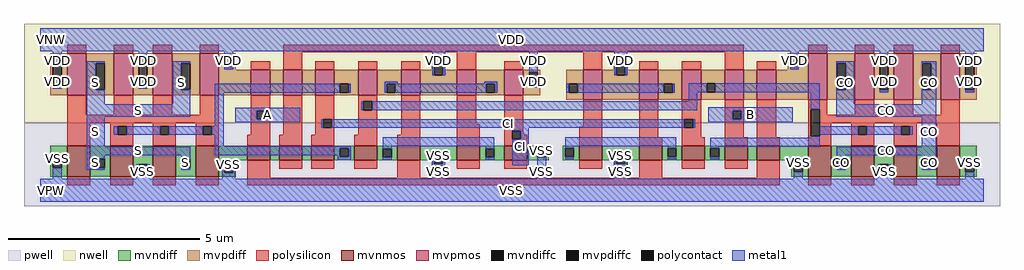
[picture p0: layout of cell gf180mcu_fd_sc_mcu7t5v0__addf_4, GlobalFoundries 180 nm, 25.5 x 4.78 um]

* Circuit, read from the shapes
.subckt gf180mcu_fd_sc_mcu7t5v0__addf_4 A B CI CO S VDD VNW VPW VSS
XM1 S n1 VSS VPW nfet_06v0 w=0.815u l=0.6u m=4
XM2 n2 A VSS VPW nfet_06v0 w=0.38u l=0.6u
XM3 n3 B n2 VPW nfet_06v0 w=0.38u l=0.6u
XM4 n1 CI n3 VPW nfet_06v0 w=0.38u l=0.6u
XM5 n4 n5 n1 VPW nfet_06v0 w=0.38u l=0.6u
XM6 VSS A n4 VPW nfet_06v0 w=0.38u l=0.6u
XM7 n4 B VSS VPW nfet_06v0 w=0.38u l=0.6u
XM8 VSS CI n4 VPW nfet_06v0 w=0.38u l=0.6u
XM9 VSS B n6 VPW nfet_06v0 w=0.38u l=0.6u
XM10 n6 A VSS VPW nfet_06v0 w=0.38u l=0.6u
XM11 n5 CI n6 VPW nfet_06v0 w=0.38u l=0.6u
XM12 n7 B n5 VPW nfet_06v0 w=0.38u l=0.6u
XM13 VSS A n7 VPW nfet_06v0 w=0.38u l=0.6u
XM14 CO n5 VSS VPW nfet_06v0 w=0.815u l=0.6u m=4
XM15 S n1 VDD VNW pfet_06v0 w=1.095u l=0.5u m=4
XM16 n8 A VDD VNW pfet_06v0 w=0.66u l=0.5u
XM17 n9 B n8 VNW pfet_06v0 w=0.66u l=0.5u
XM18 n1 CI n9 VNW pfet_06v0 w=0.66u l=0.5u
XM19 n10 n5 n1 VNW pfet_06v0 w=0.66u l=0.5u
XM20 VDD A n10 VNW pfet_06v0 w=0.66u l=0.5u
XM21 n10 B VDD VNW pfet_06v0 w=0.66u l=0.5u
XM22 VDD CI n10 VNW pfet_06v0 w=0.66u l=0.5u
XM23 VDD B n11 VNW pfet_06v0 w=0.78u l=0.5u
XM24 n11 A VDD VNW pfet_06v0 w=0.78u l=0.5u
XM25 n5 CI n11 VNW pfet_06v0 w=0.78u l=0.5u
XM26 n12 B n5 VNW pfet_06v0 w=0.78u l=0.5u
XM27 VDD A n12 VNW pfet_06v0 w=0.78u l=0.5u
XM28 CO n5 VDD VNW pfet_06v0 w=1.215u l=0.5u m=4
.ends

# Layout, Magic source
magic
tech gf180mcuD
magscale 1 10
<< nwell >>
rect -86 352 5014 870
<< pwell >>
rect -86 -86 5014 352
<< mvnmos >>
rect 140 69 260 232
rect 364 69 484 232
rect 588 69 708 232
rect 812 69 932 232
rect 1080 156 1200 232
rect 1248 156 1368 232
rect 1416 156 1536 232
rect 1640 156 1760 232
rect 1864 156 1984 232
rect 2176 156 2296 232
rect 2424 156 2544 232
rect 2816 156 2936 232
rect 3128 156 3248 232
rect 3352 156 3472 232
rect 3576 156 3696 232
rect 3744 156 3864 232
rect 4012 69 4132 232
rect 4236 69 4356 232
rect 4460 69 4580 232
rect 4684 69 4804 232
<< mvpmos >>
rect 140 496 240 715
rect 384 496 484 715
rect 588 496 688 715
rect 832 496 932 715
rect 1100 496 1200 628
rect 1268 496 1368 628
rect 1436 496 1536 628
rect 1660 496 1760 628
rect 1884 496 1984 628
rect 2176 496 2276 628
rect 2424 496 2524 628
rect 2836 472 2936 628
rect 3128 472 3228 628
rect 3352 472 3452 628
rect 3576 472 3676 628
rect 3744 472 3844 628
rect 4012 472 4112 715
rect 4256 472 4356 715
rect 4460 472 4560 715
rect 4704 472 4804 715
<< mvndiff >>
rect 52 163 140 232
rect 52 117 65 163
rect 111 117 140 163
rect 52 69 140 117
rect 260 163 364 232
rect 260 117 289 163
rect 335 117 364 163
rect 260 69 364 117
rect 484 135 588 232
rect 484 89 513 135
rect 559 89 588 135
rect 484 69 588 89
rect 708 163 812 232
rect 708 117 737 163
rect 783 117 812 163
rect 708 69 812 117
rect 932 156 1080 232
rect 1200 156 1248 232
rect 1368 156 1416 232
rect 1536 219 1640 232
rect 1536 173 1565 219
rect 1611 173 1640 219
rect 1536 156 1640 173
rect 1760 216 1864 232
rect 1760 170 1789 216
rect 1835 170 1864 216
rect 1760 156 1864 170
rect 1984 183 2176 232
rect 1984 156 2057 183
rect 932 135 1020 156
rect 932 89 961 135
rect 1007 89 1020 135
rect 932 69 1020 89
rect 2044 137 2057 156
rect 2103 156 2176 183
rect 2296 216 2424 232
rect 2296 170 2326 216
rect 2372 170 2424 216
rect 2296 156 2424 170
rect 2544 216 2656 232
rect 2544 170 2597 216
rect 2643 170 2656 216
rect 2544 156 2656 170
rect 2728 219 2816 232
rect 2728 173 2741 219
rect 2787 173 2816 219
rect 2728 156 2816 173
rect 2936 183 3128 232
rect 2936 156 3009 183
rect 2103 137 2116 156
rect 2044 124 2116 137
rect 2996 137 3009 156
rect 3055 156 3128 183
rect 3248 219 3352 232
rect 3248 173 3277 219
rect 3323 173 3352 219
rect 3248 156 3352 173
rect 3472 219 3576 232
rect 3472 173 3501 219
rect 3547 173 3576 219
rect 3472 156 3576 173
rect 3696 156 3744 232
rect 3864 156 4012 232
rect 3055 137 3068 156
rect 2996 124 3068 137
rect 3924 142 4012 156
rect 3924 96 3937 142
rect 3983 96 4012 142
rect 3924 69 4012 96
rect 4132 163 4236 232
rect 4132 117 4161 163
rect 4207 117 4236 163
rect 4132 69 4236 117
rect 4356 134 4460 232
rect 4356 88 4385 134
rect 4431 88 4460 134
rect 4356 69 4460 88
rect 4580 163 4684 232
rect 4580 117 4609 163
rect 4655 117 4684 163
rect 4580 69 4684 117
rect 4804 142 4892 232
rect 4804 96 4833 142
rect 4879 96 4892 142
rect 4804 69 4892 96
<< mvpdiff >>
rect 52 689 140 715
rect 52 549 65 689
rect 111 549 140 689
rect 52 496 140 549
rect 240 663 384 715
rect 240 523 289 663
rect 335 523 384 663
rect 240 496 384 523
rect 484 689 588 715
rect 484 549 513 689
rect 559 549 588 689
rect 484 496 588 549
rect 688 663 832 715
rect 688 523 737 663
rect 783 523 832 663
rect 688 496 832 523
rect 932 689 1020 715
rect 932 643 961 689
rect 1007 643 1020 689
rect 932 628 1020 643
rect 2044 647 2116 660
rect 2044 628 2057 647
rect 932 496 1100 628
rect 1200 496 1268 628
rect 1368 496 1436 628
rect 1536 555 1660 628
rect 1536 509 1565 555
rect 1611 509 1660 555
rect 1536 496 1660 509
rect 1760 555 1884 628
rect 1760 509 1809 555
rect 1855 509 1884 555
rect 1760 496 1884 509
rect 1984 601 2057 628
rect 2103 628 2116 647
rect 2996 647 3068 660
rect 2996 628 3009 647
rect 2103 601 2176 628
rect 1984 496 2176 601
rect 2276 555 2424 628
rect 2276 509 2329 555
rect 2375 509 2424 555
rect 2276 496 2424 509
rect 2524 615 2612 628
rect 2524 569 2553 615
rect 2599 569 2612 615
rect 2524 496 2612 569
rect 2748 555 2836 628
rect 2748 509 2761 555
rect 2807 509 2836 555
rect 2748 472 2836 509
rect 2936 601 3009 628
rect 3055 628 3068 647
rect 3904 689 4012 715
rect 3904 643 3917 689
rect 3963 643 4012 689
rect 3904 628 4012 643
rect 3055 601 3128 628
rect 2936 472 3128 601
rect 3228 555 3352 628
rect 3228 509 3257 555
rect 3303 509 3352 555
rect 3228 472 3352 509
rect 3452 557 3576 628
rect 3452 511 3481 557
rect 3527 511 3576 557
rect 3452 472 3576 511
rect 3676 472 3744 628
rect 3844 472 4012 628
rect 4112 663 4256 715
rect 4112 523 4161 663
rect 4207 523 4256 663
rect 4112 472 4256 523
rect 4356 663 4460 715
rect 4356 523 4385 663
rect 4431 523 4460 663
rect 4356 472 4460 523
rect 4560 663 4704 715
rect 4560 523 4609 663
rect 4655 523 4704 663
rect 4560 472 4704 523
rect 4804 663 4892 715
rect 4804 523 4833 663
rect 4879 523 4892 663
rect 4804 472 4892 523
<< mvndiffc >>
rect 65 117 111 163
rect 289 117 335 163
rect 513 89 559 135
rect 737 117 783 163
rect 1565 173 1611 219
rect 1789 170 1835 216
rect 961 89 1007 135
rect 2057 137 2103 183
rect 2326 170 2372 216
rect 2597 170 2643 216
rect 2741 173 2787 219
rect 3009 137 3055 183
rect 3277 173 3323 219
rect 3501 173 3547 219
rect 3937 96 3983 142
rect 4161 117 4207 163
rect 4385 88 4431 134
rect 4609 117 4655 163
rect 4833 96 4879 142
<< mvpdiffc >>
rect 65 549 111 689
rect 289 523 335 663
rect 513 549 559 689
rect 737 523 783 663
rect 961 643 1007 689
rect 1565 509 1611 555
rect 1809 509 1855 555
rect 2057 601 2103 647
rect 2329 509 2375 555
rect 2553 569 2599 615
rect 2761 509 2807 555
rect 3009 601 3055 647
rect 3917 643 3963 689
rect 3257 509 3303 555
rect 3481 511 3527 557
rect 4161 523 4207 663
rect 4385 523 4431 663
rect 4609 523 4655 663
rect 4833 523 4879 663
<< polysilicon >>
rect 140 715 240 760
rect 384 715 484 760
rect 588 715 688 760
rect 832 715 932 760
rect 1268 720 3676 760
rect 1100 628 1200 672
rect 1268 628 1368 720
rect 1436 628 1536 672
rect 1660 628 1760 672
rect 1884 628 1984 672
rect 2176 628 2276 720
rect 2424 628 2524 672
rect 2836 628 2936 720
rect 140 394 240 496
rect 384 394 484 496
rect 588 394 688 496
rect 832 394 932 496
rect 140 348 932 394
rect 140 232 260 348
rect 364 334 484 348
rect 364 288 404 334
rect 450 288 484 334
rect 364 232 484 288
rect 588 334 708 348
rect 588 288 625 334
rect 671 288 708 334
rect 588 232 708 288
rect 812 334 932 348
rect 812 288 849 334
rect 895 288 932 334
rect 1100 415 1200 496
rect 1100 369 1130 415
rect 1176 369 1200 415
rect 1100 288 1200 369
rect 1268 288 1368 496
rect 1436 371 1536 496
rect 1436 325 1477 371
rect 1523 325 1536 371
rect 1436 288 1536 325
rect 1660 463 1760 496
rect 1660 417 1687 463
rect 1733 417 1760 463
rect 1660 288 1760 417
rect 1884 288 1984 496
rect 812 232 932 288
rect 1080 232 1200 288
rect 1248 232 1368 288
rect 1416 232 1536 288
rect 1640 232 1760 288
rect 1864 232 1984 288
rect 2176 344 2276 496
rect 2176 232 2296 344
rect 2424 311 2524 496
rect 3128 628 3228 672
rect 3352 628 3452 672
rect 3576 628 3676 720
rect 4012 715 4112 760
rect 4256 715 4356 760
rect 4460 715 4560 760
rect 4704 715 4804 760
rect 3744 628 3844 672
rect 2836 330 2936 472
rect 2424 265 2465 311
rect 2511 288 2524 311
rect 2511 265 2544 288
rect 2424 232 2544 265
rect 2816 232 2936 330
rect 3128 277 3228 472
rect 3352 371 3452 472
rect 3352 325 3365 371
rect 3411 325 3452 371
rect 3352 277 3452 325
rect 3576 415 3676 472
rect 3576 369 3617 415
rect 3663 369 3676 415
rect 3576 277 3676 369
rect 3744 277 3844 472
rect 4012 422 4112 472
rect 4012 281 4025 422
rect 4071 394 4112 422
rect 4256 394 4356 472
rect 4460 394 4560 472
rect 4704 394 4804 472
rect 4071 348 4804 394
rect 4071 281 4132 348
rect 3128 232 3248 277
rect 3352 232 3472 277
rect 3576 232 3696 277
rect 3744 232 3864 277
rect 4012 232 4132 281
rect 4236 334 4356 348
rect 4236 288 4273 334
rect 4319 288 4356 334
rect 4236 232 4356 288
rect 4460 334 4580 348
rect 4460 288 4497 334
rect 4543 288 4580 334
rect 4460 232 4580 288
rect 4684 232 4804 348
rect 140 24 260 69
rect 364 24 484 69
rect 588 24 708 69
rect 812 24 932 69
rect 1080 64 1200 156
rect 1248 112 1368 156
rect 1416 112 1536 156
rect 1640 112 1760 156
rect 1864 64 1984 156
rect 2176 112 2296 156
rect 2424 112 2544 156
rect 2816 112 2936 156
rect 3128 64 3248 156
rect 3352 112 3472 156
rect 3576 112 3696 156
rect 3744 64 3864 156
rect 1080 24 3864 64
rect 4012 24 4132 69
rect 4236 24 4356 69
rect 4460 24 4580 69
rect 4684 24 4804 69
<< polycontact >>
rect 404 288 450 334
rect 625 288 671 334
rect 849 288 895 334
rect 1130 369 1176 415
rect 1477 325 1523 371
rect 1687 417 1733 463
rect 2465 265 2511 311
rect 3365 325 3411 371
rect 3617 369 3663 415
rect 4025 281 4071 422
rect 4273 288 4319 334
rect 4497 288 4543 334
<< metal1 >>
rect 0 724 4928 844
rect 65 689 111 724
rect 513 689 559 724
rect 65 530 111 549
rect 243 663 335 674
rect 243 523 289 663
rect 961 689 1007 724
rect 513 530 559 549
rect 692 663 783 674
rect 243 448 335 523
rect 692 523 737 663
rect 961 632 1007 643
rect 2046 647 2114 724
rect 2046 601 2057 647
rect 2103 601 2114 647
rect 2553 615 2599 724
rect 2998 647 3066 724
rect 2998 601 3009 647
rect 3055 601 3066 647
rect 3917 689 3963 724
rect 3917 632 3963 643
rect 4158 663 4252 674
rect 1798 555 1866 566
rect 2318 555 2386 566
rect 692 448 783 523
rect 243 384 783 448
rect 912 509 1565 555
rect 1611 509 1622 555
rect 1798 509 1809 555
rect 1855 509 2329 555
rect 2375 509 2386 555
rect 2553 534 2599 569
rect 2748 509 2761 555
rect 2807 509 3257 555
rect 3303 509 3314 555
rect 3387 511 3481 557
rect 3527 511 4071 557
rect 3387 510 4071 511
rect 243 227 335 384
rect 912 334 958 509
rect 3387 463 3433 510
rect 1019 415 1357 430
rect 1676 417 1687 463
rect 1733 417 3433 463
rect 1019 369 1130 415
rect 1176 369 1357 415
rect 3490 415 3930 432
rect 1019 354 1357 369
rect 383 288 404 334
rect 450 288 625 334
rect 671 288 849 334
rect 895 288 958 334
rect 1466 325 1477 371
rect 1523 325 3365 371
rect 3411 325 3422 371
rect 3490 369 3617 415
rect 3663 369 3930 415
rect 3490 354 3930 369
rect 4025 422 4071 510
rect 912 228 958 288
rect 2465 311 2551 325
rect 1789 229 2372 275
rect 243 181 783 227
rect 912 219 1622 228
rect 912 181 1565 219
rect 65 163 111 174
rect 65 60 111 117
rect 243 163 335 181
rect 243 117 289 163
rect 737 163 783 181
rect 243 106 335 117
rect 501 89 513 135
rect 559 89 570 135
rect 1554 173 1565 181
rect 1611 173 1622 219
rect 1554 156 1622 173
rect 1789 216 1835 229
rect 2326 216 2372 229
rect 1789 159 1835 170
rect 2046 137 2057 183
rect 2103 137 2114 183
rect 2326 159 2372 170
rect 2511 265 2551 311
rect 4158 523 4161 663
rect 4207 523 4252 663
rect 4158 448 4252 523
rect 4385 663 4431 724
rect 4385 512 4431 523
rect 4606 663 4682 674
rect 4606 523 4609 663
rect 4655 523 4682 663
rect 4606 448 4682 523
rect 4833 663 4879 724
rect 4833 512 4879 523
rect 4158 384 4682 448
rect 4071 288 4273 334
rect 4319 288 4497 334
rect 4543 288 4557 334
rect 737 106 783 117
rect 501 60 570 89
rect 950 89 961 135
rect 1007 89 1018 135
rect 950 60 1018 89
rect 2046 60 2114 137
rect 2465 130 2551 265
rect 2741 229 3323 275
rect 4025 273 4071 281
rect 2597 216 2643 227
rect 2597 60 2643 170
rect 2741 219 2787 229
rect 3277 219 3323 229
rect 2741 162 2787 173
rect 2998 137 3009 183
rect 3055 137 3066 183
rect 3277 162 3323 173
rect 3501 227 4071 273
rect 4606 227 4682 384
rect 3501 219 3547 227
rect 3501 162 3547 173
rect 4161 181 4682 227
rect 4161 163 4207 181
rect 2998 60 3066 137
rect 3937 142 3983 153
rect 4606 163 4682 181
rect 4161 106 4207 117
rect 3937 60 3983 96
rect 4374 88 4385 134
rect 4431 88 4442 134
rect 4606 117 4609 163
rect 4655 117 4682 163
rect 4606 106 4682 117
rect 4833 142 4879 153
rect 4374 60 4442 88
rect 4833 60 4879 96
rect 0 -60 4928 60
<< labels >>
flabel metal1 s 3490 354 3930 432 0 FreeSans 600 0 0 0 B
port 2 nsew default input
flabel metal1 s 1466 325 3422 371 0 FreeSans 600 0 0 0 CI
port 3 nsew default input
flabel metal1 s 4606 448 4682 674 0 FreeSans 600 0 0 0 CO
port 4 nsew default output
flabel metal1 s 692 448 783 674 0 FreeSans 600 0 0 0 S
port 5 nsew default output
flabel metal1 s 0 724 4928 844 0 FreeSans 600 0 0 0 VDD
port 6 nsew power bidirectional abutment
flabel metal1 s 2597 183 2643 227 0 FreeSans 600 0 0 0 VSS
port 9 nsew ground bidirectional abutment
flabel metal1 s 1019 354 1357 430 0 FreeSans 600 0 0 0 A
port 1 nsew default input
flabel nwell s 10 734 110 834 0 FreeSans 400 0 0 0 VNW
port 7 nsew power bidirectional
flabel pwell s 10 -50 110 50 0 FreeSans 400 0 0 0 VPW
port 8 nsew ground bidirectional
rlabel metal1 s 2465 130 2551 325 1 CI
port 3 nsew default input
rlabel metal1 s 4158 448 4252 674 1 CO
port 4 nsew default output
rlabel metal1 s 4158 384 4682 448 1 CO
port 4 nsew default output
rlabel metal1 s 4606 227 4682 384 1 CO
port 4 nsew default output
rlabel metal1 s 4161 181 4682 227 1 CO
port 4 nsew default output
rlabel metal1 s 4606 106 4682 181 1 CO
port 4 nsew default output
rlabel metal1 s 4161 106 4207 181 1 CO
port 4 nsew default output
rlabel metal1 s 243 448 335 674 1 S
port 5 nsew default output
rlabel metal1 s 243 384 783 448 1 S
port 5 nsew default output
rlabel metal1 s 243 227 335 384 1 S
port 5 nsew default output
rlabel metal1 s 243 181 783 227 1 S
port 5 nsew default output
rlabel metal1 s 737 106 783 181 1 S
port 5 nsew default output
rlabel metal1 s 243 106 335 181 1 S
port 5 nsew default output
rlabel metal1 s 4833 632 4879 724 1 VDD
port 6 nsew power bidirectional abutment
rlabel metal1 s 4385 632 4431 724 1 VDD
port 6 nsew power bidirectional abutment
rlabel metal1 s 3917 632 3963 724 1 VDD
port 6 nsew power bidirectional abutment
rlabel metal1 s 2998 632 3066 724 1 VDD
port 6 nsew power bidirectional abutment
rlabel metal1 s 2553 632 2599 724 1 VDD
port 6 nsew power bidirectional abutment
rlabel metal1 s 2046 632 2114 724 1 VDD
port 6 nsew power bidirectional abutment
rlabel metal1 s 961 632 1007 724 1 VDD
port 6 nsew power bidirectional abutment
rlabel metal1 s 513 632 559 724 1 VDD
port 6 nsew power bidirectional abutment
rlabel metal1 s 65 632 111 724 1 VDD
port 6 nsew power bidirectional abutment
rlabel metal1 s 4833 601 4879 632 1 VDD
port 6 nsew power bidirectional abutment
rlabel metal1 s 4385 601 4431 632 1 VDD
port 6 nsew power bidirectional abutment
rlabel metal1 s 2998 601 3066 632 1 VDD
port 6 nsew power bidirectional abutment
rlabel metal1 s 2553 601 2599 632 1 VDD
port 6 nsew power bidirectional abutment
rlabel metal1 s 2046 601 2114 632 1 VDD
port 6 nsew power bidirectional abutment
rlabel metal1 s 513 601 559 632 1 VDD
port 6 nsew power bidirectional abutment
rlabel metal1 s 65 601 111 632 1 VDD
port 6 nsew power bidirectional abutment
rlabel metal1 s 4833 534 4879 601 1 VDD
port 6 nsew power bidirectional abutment
rlabel metal1 s 4385 534 4431 601 1 VDD
port 6 nsew power bidirectional abutment
rlabel metal1 s 2553 534 2599 601 1 VDD
port 6 nsew power bidirectional abutment
rlabel metal1 s 513 534 559 601 1 VDD
port 6 nsew power bidirectional abutment
rlabel metal1 s 65 534 111 601 1 VDD
port 6 nsew power bidirectional abutment
rlabel metal1 s 4833 530 4879 534 1 VDD
port 6 nsew power bidirectional abutment
rlabel metal1 s 4385 530 4431 534 1 VDD
port 6 nsew power bidirectional abutment
rlabel metal1 s 513 530 559 534 1 VDD
port 6 nsew power bidirectional abutment
rlabel metal1 s 65 530 111 534 1 VDD
port 6 nsew power bidirectional abutment
rlabel metal1 s 4833 512 4879 530 1 VDD
port 6 nsew power bidirectional abutment
rlabel metal1 s 4385 512 4431 530 1 VDD
port 6 nsew power bidirectional abutment
rlabel metal1 s 2998 174 3066 183 1 VSS
port 9 nsew ground bidirectional abutment
rlabel metal1 s 2597 174 2643 183 1 VSS
port 9 nsew ground bidirectional abutment
rlabel metal1 s 2046 174 2114 183 1 VSS
port 9 nsew ground bidirectional abutment
rlabel metal1 s 2998 153 3066 174 1 VSS
port 9 nsew ground bidirectional abutment
rlabel metal1 s 2597 153 2643 174 1 VSS
port 9 nsew ground bidirectional abutment
rlabel metal1 s 2046 153 2114 174 1 VSS
port 9 nsew ground bidirectional abutment
rlabel metal1 s 65 153 111 174 1 VSS
port 9 nsew ground bidirectional abutment
rlabel metal1 s 4833 135 4879 153 1 VSS
port 9 nsew ground bidirectional abutment
rlabel metal1 s 3937 135 3983 153 1 VSS
port 9 nsew ground bidirectional abutment
rlabel metal1 s 2998 135 3066 153 1 VSS
port 9 nsew ground bidirectional abutment
rlabel metal1 s 2597 135 2643 153 1 VSS
port 9 nsew ground bidirectional abutment
rlabel metal1 s 2046 135 2114 153 1 VSS
port 9 nsew ground bidirectional abutment
rlabel metal1 s 65 135 111 153 1 VSS
port 9 nsew ground bidirectional abutment
rlabel metal1 s 4833 134 4879 135 1 VSS
port 9 nsew ground bidirectional abutment
rlabel metal1 s 3937 134 3983 135 1 VSS
port 9 nsew ground bidirectional abutment
rlabel metal1 s 2998 134 3066 135 1 VSS
port 9 nsew ground bidirectional abutment
rlabel metal1 s 2597 134 2643 135 1 VSS
port 9 nsew ground bidirectional abutment
rlabel metal1 s 2046 134 2114 135 1 VSS
port 9 nsew ground bidirectional abutment
rlabel metal1 s 950 134 1018 135 1 VSS
port 9 nsew ground bidirectional abutment
rlabel metal1 s 501 134 570 135 1 VSS
port 9 nsew ground bidirectional abutment
rlabel metal1 s 65 134 111 135 1 VSS
port 9 nsew ground bidirectional abutment
rlabel metal1 s 4833 60 4879 134 1 VSS
port 9 nsew ground bidirectional abutment
rlabel metal1 s 4374 60 4442 134 1 VSS
port 9 nsew ground bidirectional abutment
rlabel metal1 s 3937 60 3983 134 1 VSS
port 9 nsew ground bidirectional abutment
rlabel metal1 s 2998 60 3066 134 1 VSS
port 9 nsew ground bidirectional abutment
rlabel metal1 s 2597 60 2643 134 1 VSS
port 9 nsew ground bidirectional abutment
rlabel metal1 s 2046 60 2114 134 1 VSS
port 9 nsew ground bidirectional abutment
rlabel metal1 s 950 60 1018 134 1 VSS
port 9 nsew ground bidirectional abutment
rlabel metal1 s 501 60 570 134 1 VSS
port 9 nsew ground bidirectional abutment
rlabel metal1 s 65 60 111 134 1 VSS
port 9 nsew ground bidirectional abutment
rlabel metal1 s 0 -60 4928 60 1 VSS
port 9 nsew ground bidirectional abutment
<< properties >>
string FIXED_BBOX 0 0 4928 784
string GDS_END 1189100
string GDS_FILE $PDKPATH/libs.ref/gf180mcu_fd_sc_mcu7t5v0/gds/gf180mcu_fd_sc_mcu7t5v0.gds
string GDS_START 1180334
string LEFclass core
string LEFsite GF018hv5v_mcu_sc7
string LEFsymmetry X Y
<< end >>
